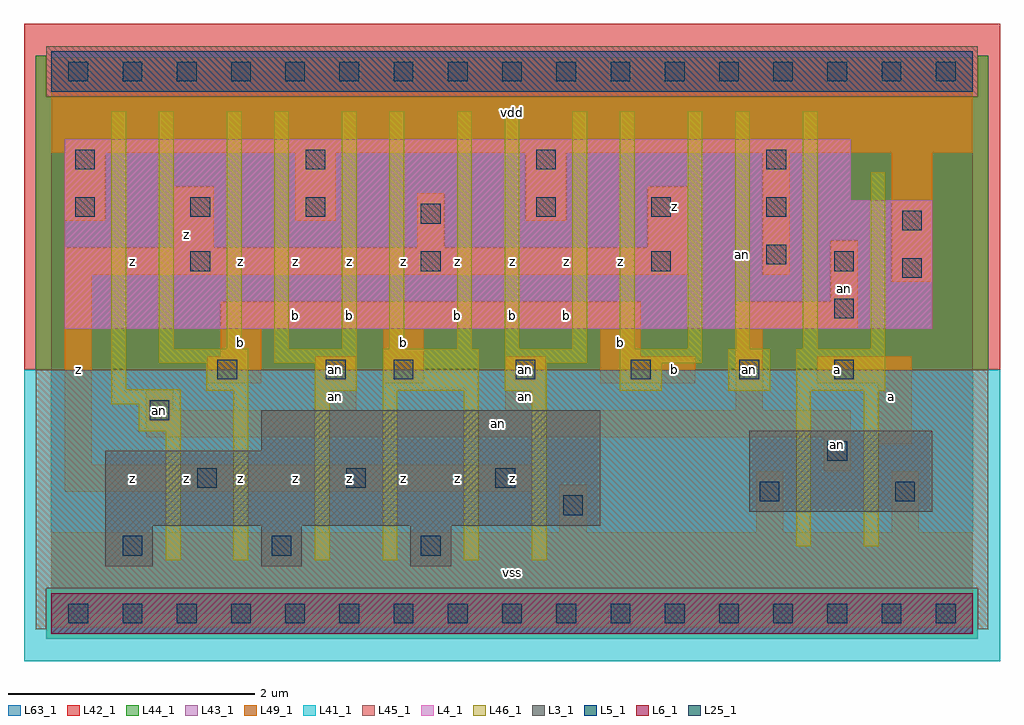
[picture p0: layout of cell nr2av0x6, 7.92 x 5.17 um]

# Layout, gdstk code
import gdstk
lib = gdstk.Library(unit=1e-6, precision=1e-09)
def R(c, l, rs):  # rectangles x0, y0, x1, y1
    for r in rs: c.add(gdstk.rectangle(r[:2], r[2:], *l))
def A(c, l, x, y, w, h, nx, ny, dx, dy):  # array of equal rectangles
    R(c, l, [(x+i*dx, y+j*dy, x+i*dx+w, y+j*dy+h) for i in range(nx) for j in range(ny)])
L3_1 = (3, 1)
L4_1 = (4, 1)
L5_1 = (5, 1)
L6_1 = (6, 1)
L25_1 = (25, 1)
L41_1 = (41, 1)
L42_1 = (42, 1)
L43_1 = (43, 1)
L44_1 = (44, 1)
L45_1 = (45, 1)
L46_1 = (46, 1)
L49_1 = (49, 1)
L63_1 = (63, 1)

nr2av0x6 = lib.new_cell('nr2av0x6')
R(nr2av0x6, L3_1, [(0.44,0.385,0.825,0.715), (1.705,0.385,2.035,0.715), (2.915,0.385,3.245,0.715), (0.44,0.715,4.455,1.32), (5.665,0.825,7.15,1.485), (1.705,1.32,4.455,1.65)])
R(nr2av0x6, L4_1, [(0.11,2.31,7.15,3.355), (0.11,3.355,6.49,3.85)])
R(nr2av0x6, L5_1, [(0,4.235,7.48,4.565)])
R(nr2av0x6, L6_1, [(0,-0.165,7.48,0.165)])
A(nr2av0x6, L25_1, 0.14, -0.08, 0.16, 0.16, 17, 2, 0.44, 4.4)
A(nr2av0x6, L25_1, 0.58, 0.47, 0.16, 0.16, 3, 1, 1.21, 0)
A(nr2av0x6, L25_1, 1.185, 1.02, 0.16, 0.16, 3, 1, 1.21, 0)
A(nr2av0x6, L25_1, 1.13, 2.78, 0.16, 0.16, 3, 1, 1.87, 0)
A(nr2av0x6, L25_1, 0.195, 3.22, 0.16, 0.16, 3, 1, 0.935, 0)
A(nr2av0x6, L25_1, 3.935, 3.22, 0.16, 0.16, 3, 1, 0.935, 0)
A(nr2av0x6, L25_1, 0.195, 3.605, 0.16, 0.16, 4, 1, 1.87, 0)
R(nr2av0x6, L25_1, [(4.155,0.8,4.315,0.96), (5.75,0.91,5.91,1.07), (6.85,0.91,7.01,1.07), (6.3,1.24,6.46,1.4), (0.8,1.57,0.96,1.73), (1.35,1.9,1.51,2.06), (2.23,1.9,2.39,2.06), (2.78,1.9,2.94,2.06), (3.77,1.9,3.93,2.06), (4.705,1.9,4.865,2.06), (5.585,1.9,5.745,2.06), (6.355,1.9,6.515,2.06), (6.355,2.395,6.515,2.555), (6.905,2.725,7.065,2.885), (6.355,2.78,6.515,2.94), (5.805,2.835,5.965,2.995), (6.905,3.11,7.065,3.27), (3,3.165,3.16,3.325)])
R(nr2av0x6, L41_1, [(-0.22,-0.385,7.7,1.98)])
R(nr2av0x6, L42_1, [(-0.22,1.98,7.7,4.785)])
R(nr2av0x6, L43_1, [(0,-0.165,7.48,0.165), (0.44,0.385,0.825,0.715), (1.705,0.385,2.035,0.715), (2.915,0.385,3.245,0.715), (0.44,0.715,4.455,1.32), (5.665,0.825,7.15,1.485), (1.705,1.32,4.455,1.65), (0.11,2.31,7.15,3.355), (0.11,3.355,6.49,3.85), (0,4.235,7.48,4.565)])
R(nr2av0x6, L44_1, [(-0.04,-0.205,7.52,0.205), (-0.125,1.98,7.605,4.195), (-0.125,4.195,-0.04,4.525), (7.52,4.195,7.605,4.525)])
R(nr2av0x6, L45_1, [(-0.125,-0.125,-0.04,0.205), (7.52,-0.125,7.605,0.205), (-0.125,0.205,7.605,1.98), (-0.04,4.195,7.52,4.605)])
R(nr2av0x6, L46_1, [(0.93,0.435,1.05,1.48), (1.48,0.435,1.6,1.81), (2.14,0.435,2.26,1.81), (2.69,0.435,2.81,1.81), (3.35,0.435,3.47,1.81), (3.9,0.435,4.02,1.81), (6.045,0.545,6.165,1.81), (6.595,0.545,6.715,1.81), (0.71,1.48,1.05,1.7), (0.49,1.7,1.05,1.82), (1.26,1.81,1.6,2.03), (2.14,1.81,2.48,2.03), (2.69,1.81,3.47,2.15), (3.68,1.81,4.02,2.03), (4.615,1.81,4.955,2.03), (5.495,1.81,5.835,2.15), (6.045,1.81,6.77,2.15), (0.49,1.82,0.61,4.075), (0.875,2.03,1.6,2.15), (1.81,2.03,2.48,2.15), (3.68,2.03,4.35,2.15), (4.615,2.03,5.285,2.15), (0.875,2.15,0.995,4.075), (1.425,2.15,1.545,4.075), (1.81,2.15,1.93,4.075), (2.36,2.15,2.48,4.075), (2.745,2.15,2.865,4.075), (3.295,2.15,3.415,4.075), (3.68,2.15,3.8,4.075), (4.23,2.15,4.35,4.075), (4.615,2.15,4.735,4.075), (5.165,2.15,5.285,4.075), (5.55,2.15,5.67,4.075), (6.1,2.15,6.22,4.075), (6.65,2.15,6.77,3.58)])
A(nr2av0x6, L49_1, 0.11, 3.19, 0.33, 0.55, 3, 1, 1.87, 0)
R(nr2av0x6, L49_1, [(0,-0.11,7.48,0.66), (4.125,0.66,4.345,1.045), (5.72,0.66,5.94,1.155), (6.82,0.66,7.04,1.155), (0.11,0.99,3.905,1.21), (6.27,1.155,6.49,1.43), (0.11,1.21,0.33,2.75), (6.71,1.375,6.985,1.87), (0.77,1.43,6.49,1.65), (0.77,1.65,0.99,1.815), (2.145,1.65,2.475,2.09), (3.685,1.65,4.015,2.09), (5.555,1.65,5.775,2.31), (1.265,1.87,1.705,2.09), (2.695,1.87,3.025,2.31), (4.455,1.87,5.225,2.09), (6.215,1.87,6.985,2.09), (1.375,2.09,1.705,2.31), (4.455,2.09,4.785,2.31), (1.375,2.31,4.785,2.53), (5.555,2.31,6.545,2.53), (6.325,2.53,6.545,3.025), (6.82,2.695,7.15,3.74), (0.11,2.75,5.17,2.97), (5.775,2.75,5.995,3.74), (0.99,2.97,1.32,3.465), (2.97,2.97,3.19,3.41), (4.84,2.97,5.17,3.465), (0,3.74,7.48,4.51)])
R(nr2av0x6, L63_1, [(0,0,7.48,4.4)])
nr2av0x6.add(gdstk.Label('an', (0.88,1.65), layer=49, texttype=1))
nr2av0x6.add(gdstk.Label('an', (2.31,1.98), layer=49, texttype=1))
nr2av0x6.add(gdstk.Label('an', (3.85,1.98), layer=49, texttype=1))
nr2av0x6.add(gdstk.Label('an', (5.61,2.915), layer=46, texttype=1))
nr2av0x6.add(gdstk.Label('z', (0.66,1.1), layer=49, texttype=1))
nr2av0x6.add(gdstk.Label('z', (1.1,1.1), layer=49, texttype=1))
nr2av0x6.add(gdstk.Label('z', (0.22,1.98), layer=49, texttype=1))
nr2av0x6.add(gdstk.Label('z', (0.66,2.86), layer=49, texttype=1))
nr2av0x6.add(gdstk.Label('z', (1.1,3.08), layer=49, texttype=1))
nr2av0x6.add(gdstk.Label('z', (1.54,1.1), layer=49, texttype=1))
nr2av0x6.add(gdstk.Label('z', (1.98,1.1), layer=49, texttype=1))
nr2av0x6.add(gdstk.Label('z', (2.42,1.1), layer=49, texttype=1))
nr2av0x6.add(gdstk.Label('an', (2.31,1.76), layer=49, texttype=1))
nr2av0x6.add(gdstk.Label('b', (1.54,2.2), layer=49, texttype=1))
nr2av0x6.add(gdstk.Label('b', (1.98,2.42), layer=49, texttype=1))
nr2av0x6.add(gdstk.Label('b', (2.42,2.42), layer=49, texttype=1))
nr2av0x6.add(gdstk.Label('z', (1.98,2.86), layer=49, texttype=1))
nr2av0x6.add(gdstk.Label('z', (2.42,2.86), layer=49, texttype=1))
nr2av0x6.add(gdstk.Label('z', (1.54,2.86), layer=49, texttype=1))
nr2av0x6.add(gdstk.Label('vss', (3.74,0.33), layer=49, texttype=1))
nr2av0x6.add(gdstk.Label('z', (2.86,1.1), layer=49, texttype=1))
nr2av0x6.add(gdstk.Label('z', (3.3,1.1), layer=49, texttype=1))
nr2av0x6.add(gdstk.Label('z', (3.74,1.1), layer=49, texttype=1))
nr2av0x6.add(gdstk.Label('an', (3.85,1.76), layer=49, texttype=1))
nr2av0x6.add(gdstk.Label('b', (2.86,2.2), layer=49, texttype=1))
nr2av0x6.add(gdstk.Label('b', (3.3,2.42), layer=49, texttype=1))
nr2av0x6.add(gdstk.Label('b', (3.74,2.42), layer=49, texttype=1))
nr2av0x6.add(gdstk.Label('b', (4.18,2.42), layer=49, texttype=1))
nr2av0x6.add(gdstk.Label('z', (3.3,2.86), layer=49, texttype=1))
nr2av0x6.add(gdstk.Label('z', (3.74,2.86), layer=49, texttype=1))
nr2av0x6.add(gdstk.Label('z', (4.18,2.86), layer=49, texttype=1))
nr2av0x6.add(gdstk.Label('z', (2.86,2.86), layer=49, texttype=1))
nr2av0x6.add(gdstk.Label('vdd', (3.74,4.07), layer=49, texttype=1))
nr2av0x6.add(gdstk.Label('an', (5.665,1.98), layer=49, texttype=1))
nr2av0x6.add(gdstk.Label('b', (4.62,2.2), layer=49, texttype=1))
nr2av0x6.add(gdstk.Label('b', (5.06,1.98), layer=49, texttype=1))
nr2av0x6.add(gdstk.Label('z', (4.62,2.86), layer=49, texttype=1))
nr2av0x6.add(gdstk.Label('z', (5.06,3.3), layer=49, texttype=1))
nr2av0x6.add(gdstk.Label('an', (3.63,1.54), layer=49, texttype=1))
nr2av0x6.add(gdstk.Label('an', (6.38,1.375), layer=49, texttype=1))
nr2av0x6.add(gdstk.Label('a', (6.82,1.76), layer=49, texttype=1))
nr2av0x6.add(gdstk.Label('a', (6.38,1.98), layer=49, texttype=1))
nr2av0x6.add(gdstk.Label('an', (6.435,2.64), layer=49, texttype=1))

lib.write_gds('nr2av0x6.gds')
